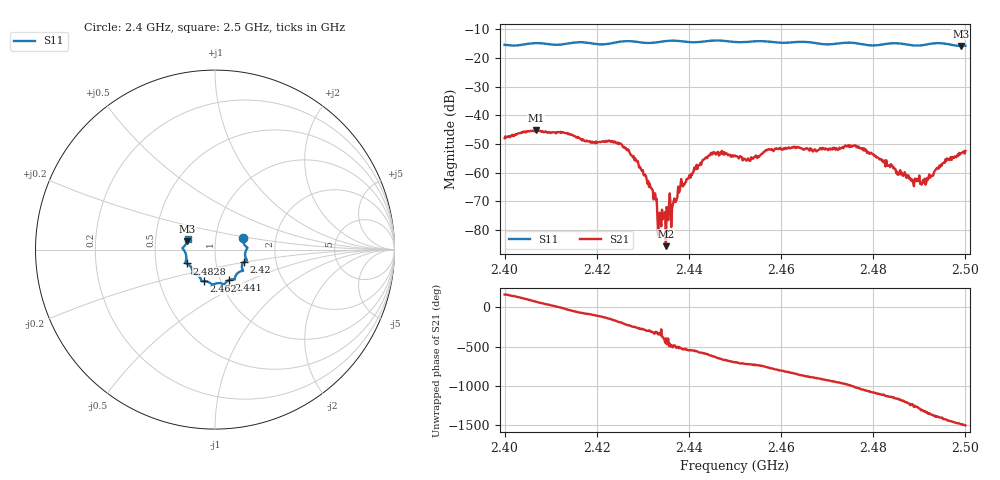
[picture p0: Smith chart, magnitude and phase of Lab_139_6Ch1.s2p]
# Hz S RI R 50
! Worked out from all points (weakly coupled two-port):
!   601 points, 2.4 GHz to 2.5 GHz, reference 50 ohm
!   highest |S21| = -45.21 dB at 2.4068 GHz (marker M1); lowest = -85.6 dB at 2.435 GHz (marker M2)
!   lowest |S11| = -15.8 dB at 2.499 GHz (marker M3), VSWR 1.38, Z = 36.5 + j3.48 ohm
!   |S11| at or under -10 dB: start of sweep to end of sweep
!   S12 and S22 are empty: the file has one direction only
!   S11 on the Smith chart (normalised r, x): 2.4 GHz: 1.36, +0.18; 2.42 GHz: 1.36, -0.20; 2.441 GHz: 1.10, -0.39; 2.462 GHz: 0.84, -0.30; 2.4828 GHz: 0.72, -0.11; 2.5 GHz: 0.73, +0.09
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2.4e9  0.1571 0.0631  -0.00386 0.001  0 0  0 0
2.406833e9  0.181 0.0104  0.00153 0.00527  0 0  0 0
2.416667e9  0.1779 -0.0599  0.00142 -0.00357  0 0  0 0
2.42e9  0.1596 -0.0695  -0.000855 -0.00316  0 0  0 0
2.426833e9  0.1565 -0.1182  -0.00167 0.00191  0 0  0 0
2.431667e9  0.1215 -0.1357  0.000346 0.000443  0 0  0 0
2.433333e9  0.1126 -0.1509  7.7e-05 2.11e-05  0 0  0 0
2.435e9  0.1106 -0.1626  4.34e-05 -2.92e-05  0 0  0 0
2.436667e9  0.1094 -0.1671  -0.000179 -0.00026  0 0  0 0
2.438167e9  0.1036 -0.1663  -0.000563 -0.000224  0 0  0 0
2.441e9  0.0785 -0.1696  -0.00101 0.00022  0 0  0 0
2.445167e9  0.0528 -0.1932  -0.000182 0.00213  0 0  0 0
2.45e9  0.0286 -0.1872  0.00187 0.000677  0 0  0 0
2.452833e9  0.000782 -0.1905  0.00176 -0.000203  0 0  0 0
2.462e9  -0.0601 -0.1757  -0.00113 -0.0024  0 0  0 0
2.466667e9  -0.0777 -0.1683  -0.00248 -0.000372  0 0  0 0
2.476e9  -0.1258 -0.131  0.00151 0.00256  0 0  0 0
2.482833e9  -0.1577 -0.0774  0.00103 -0.00128  0 0  0 0
2.483333e9  -0.1607 -0.0761  0.000667 -0.00115  0 0  0 0
2.491e9  -0.1679 -0.0115  -0.000211 0.000639  0 0  0 0
2.499e9  -0.1545 0.0464  0.00129 -0.00172  0 0  0 0
2.5e9  -0.1516 0.0609  0.000807 -0.00225  0 0  0 0
